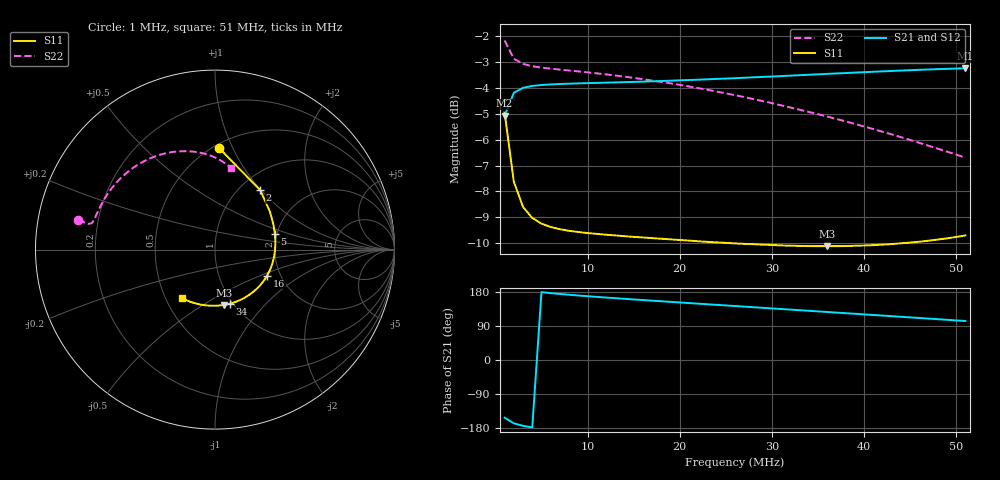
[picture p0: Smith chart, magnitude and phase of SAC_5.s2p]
# MHz S RI R 50
! S-Parameters data
! Freq  reS11  imS11  reS21  imS21  reS12  imS12  reS22  imS22
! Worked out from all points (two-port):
!   51 points, 1 MHz to 51 MHz, reference 50 ohm
!   highest |S21| = -3.23 dB at 51 MHz (marker M1); lowest = -5.1 dB at 1 MHz (marker M2)
!   |S21| within 3 dB of the highest: start of sweep to end of sweep
!   lowest |S11| = -10.1 dB at 36 MHz (marker M3), VSWR 1.91, Z = 45.4 - j31 ohm
!   |S11| at or under -10 dB: 25.69 MHz to 44.1 MHz (18.41 MHz wide, 52.8 % of centre)
!   |S22| runs from -6.7 to -2.2 dB; largest |S21 - S12| = 0.0024
!   S11 on the Smith chart (normalised r, x): 1 MHz: 0.53, +0.89; 2 MHz: 1.24, +0.99; 5 MHz: 1.95, +0.39; 16 MHz: 1.70, -0.55; 34 MHz: 0.97, -0.65; 51 MHz: 0.61, -0.37
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1  0.0235 0.5654  -0.4925 -0.2614  -0.4901 -0.262  -0.7619 0.1653
2  0.2523 0.3305  -0.6021 -0.1375  -0.6006 -0.1387  -0.7043 0.1433
3  0.3063 0.2104  -0.6277 -0.069  -0.6265 -0.0701  -0.6869 0.1469
4  0.3255 0.1388  -0.6363 -0.0239  -0.6354 -0.0249  -0.6761 0.1614
5  0.3333 0.0893  -0.6393 0.0104  -0.6384 0.00934  -0.6667 0.1807
6  0.3359 0.0516  -0.6399 0.0393  -0.639 0.038  -0.6572 0.2022
7  0.3359 0.0211  -0.6391 0.0646  -0.6382 0.0633  -0.6468 0.2247
8  0.3342 -0.00493  -0.6372 0.0877  -0.6364 0.0864  -0.6356 0.2474
10  0.3273 -0.0484  -0.6316 0.13  -0.631 0.1285  -0.6099 0.2925
13  0.3113 -0.1013  -0.619 0.1877  -0.6188 0.1858  -0.5641 0.356
16  0.2901 -0.1454  -0.6029 0.2404  -0.6028 0.2396  -0.5114 0.4109
18  0.2734 -0.1713  -0.5901 0.2746  -0.5902 0.2739  -0.4732 0.4432
22  0.2345 -0.2163  -0.5594 0.3402  -0.5599 0.3396  -0.3916 0.4944
26  0.1891 -0.2531  -0.5222 0.402  -0.5231 0.4017  -0.3075 0.5282
30  0.1381 -0.2818  -0.4788 0.4601  -0.4797 0.4601  -0.2252 0.5453
34  0.0816 -0.3014  -0.4289 0.5138  -0.4299 0.5138  -0.1472 0.5478
35  0.067 -0.3049  -0.4154 0.5263  -0.4163 0.5267  -0.1287 0.5466
36  0.0521 -0.3078  -0.4017 0.5386  -0.4024 0.539  -0.1106 0.5446
39  0.00609 -0.3127  -0.3579 0.5732  -0.3587 0.5736  -0.0597 0.5345
43  -0.0568 -0.3099  -0.2944 0.6136  -0.2952 0.6143  -0.000244 0.5133
47  -0.1201 -0.2964  -0.2262 0.6467  -0.2266 0.6476  0.0494 0.4855
51  -0.182 -0.2721  -0.1538 0.6717  -0.1537 0.6726  0.0894 0.4542
